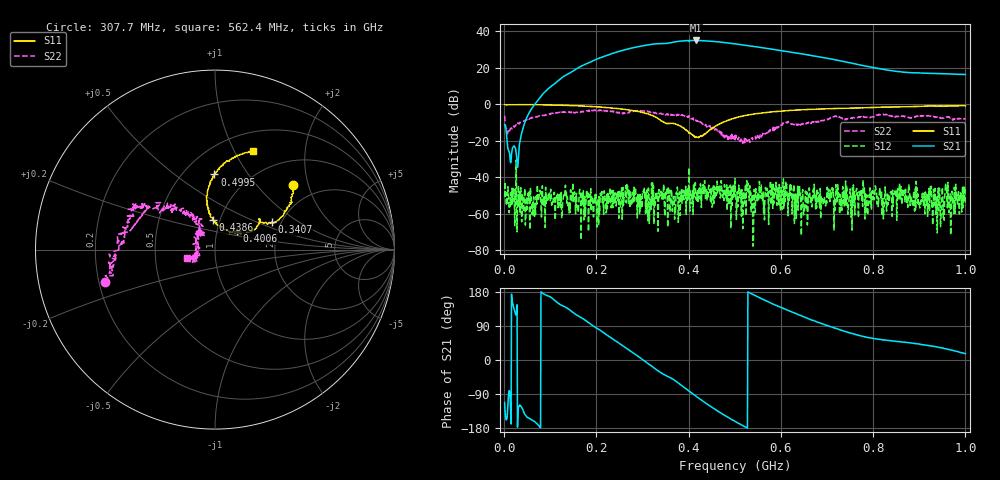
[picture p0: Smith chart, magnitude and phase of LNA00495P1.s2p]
! Created with skrf 1.9.0 (http://scikit-rf.org).
# Hz S RI R 50.0
!freq ReS11 ImS11 ReS21 ImS21 ReS12 ImS12 ReS22 ImS22
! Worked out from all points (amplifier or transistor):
!   1001 points, 1 MHz to 1 GHz, reference 50 ohm
!   highest |S21| = 34.9 dB at 416.6 MHz (marker M1)
!   |S21| within 3 dB of that: 298.9 MHz to 533 MHz (234.1 MHz wide, 56.3 % of centre)
!   unconditionally stable (mu >= 1): start of sweep to 132.4 MHz; 312.9 MHz to 400.3 MHz; 401 MHz to end of sweep (the widest 3 of 27)
!   at 166.8 MHz: K = 25.53, MAG = 30.4 dB, |S12| = -74.2 dB
!   at 500.5 MHz: K = 1.16, MAG = 34.5 dB, |S12| = -40.7 dB
!   at 1 GHz: K = 5.95, MAG = 25.1 dB, |S12| = -55.4 dB
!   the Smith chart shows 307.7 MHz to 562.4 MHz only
!   S11 on the Smith chart (normalised r, x): 307.7 MHz: 1.51, +1.61; 340.7 MHz: 1.79, +0.62; 400.6 MHz: 1.25, +0.27; 438.6 MHz: 0.93, +0.31; 499.5 MHz: 0.70, +0.71; 562.4 MHz: 0.71, +1.19
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1000000  0.7647 -0.6215  -0.1063 -0.2572  0.00291 0.000335  0.3407 0.3399
1.01899e8  -0.7116 0.6382  -2.99 0.7896  0.00185 0.00296  0.4389 -0.3376
1.67833e8  -0.2648 0.859  -4.11 10.42  -0.00294 0.000654  0.0167 -0.6372
2.06794e8  0.0137 0.8453  3.335 18.23  -0.000803 -0.000616  -0.2022 -0.6381
2.45755e8  0.2621 0.7173  18.47 20.08  0.00412 0.000443  -0.3345 -0.4923
2.77723e8  0.3896 0.5511  32.86 12.15  -0.00187 -0.000784  -0.5538 -0.3149
3.07693e8  0.4355 0.3615  41.53 -3.86  -0.00377 -0.00102  -0.6134 -0.1797
3.34666e8  0.3615 0.176  39.79 -22.28  -0.0016 -0.00123  -0.5845 -0.0414
3.4066e8  0.3175 0.1526  37.94 -25.81  0.00189 -0.0025  -0.5649 -0.0095
3.71629e8  0.2467 0.15  29.02 -42.47  -0.000709 -0.000855  -0.4515 0.1873
4.006e8  0.1226 0.1049  7.353 -52.14  0.0106 -0.0149  -0.4731 0.1047
4.16584e8  0.0732 0.1042  -6.132 -55.57  0.00186 0.00174  -0.2752 0.2234
4.38562e8  -0.0117 0.1653  -23.13 -49.23  0.00039 0.00459  -0.1614 0.1906
4.69531e8  -0.0473 0.2976  -38.27 -32.52  0.000261 0.00332  -0.1069 0.1433
4.99501e8  -0.00364 0.419  -42.85 -14.91  0.00298 -0.00149  -0.0934 0.1006
5.005e8  0.00287 0.4248  -43.07 -14  0.00798 -0.00459  -0.0919 0.0563
5.62438e8  0.2131 0.5492  -32.82 12.38  0.000524 -0.000941  -0.1538 -0.0481
6.11389e8  0.3874 0.5388  -19.15 20.39  0.00116 -0.0049  -0.3141 -0.0829
6.67333e8  0.5652 0.4581  -5.716 20.61  0.000528 0.00146  -0.3264 0.00338
7.41259e8  0.7181 0.3071  3.818 13.91  -0.00162 -0.000592  -0.3717 0.0816
8.34166e8  0.8346 0.0795  5.325 6.664  -0.00207 0.00104  -0.4004 0.2837
1e9  0.8223 -0.4026  6.288 1.885  0.0017 1.31e-05  -0.00554 0.3806
